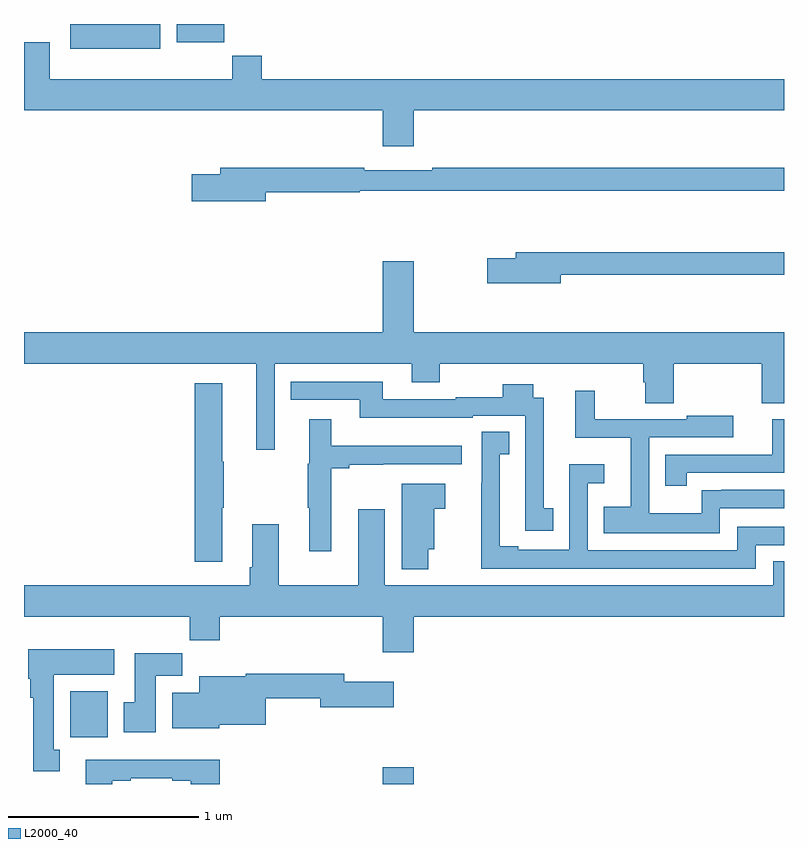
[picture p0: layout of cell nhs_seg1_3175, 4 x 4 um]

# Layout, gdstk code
import gdstk
lib = gdstk.Library(unit=1e-6, precision=1e-09)
def R(c, l, rs):  # rectangles x0, y0, x1, y1
    for r in rs: c.add(gdstk.rectangle(r[:2], r[2:], *l))
def P(c, l, *ps):  # polygons
    for p in ps: c.add(gdstk.Polygon(p, *l))
L2000_40 = (2000, 40)

nhs_seg1_3175 = lib.new_cell('nhs_seg1_3175')
R(nhs_seg1_3175, L2000_40, [(284.888,536.199,285.052,536.287), (283.244,536.444,283.441,536.686), (283.244,540.068,283.717,540.199), (283.805,540.102,284.054,540.199)])
P(nhs_seg1_3175, L2000_40, [(285.052,539.744),(287,539.744),(287,539.908),(284.252,539.908),(284.252,540.032),(284.095,540.032),(284.095,539.908),(283.135,539.908),(283.135,540.103),(283,540.103),(283,539.744),(284.888,539.744),(284.888,539.556),(285.052,539.556)],
  [(284.272,539.314),(284.768,539.314),(284.768,539.322),(287,539.322),(287,539.443),(285.148,539.443),(285.148,539.43),(284.792,539.43),(284.792,539.443),(284.033,539.443),(284.033,539.409),(283.884,539.409),(283.884,539.267),(284.272,539.267)],
  [(285.826,538.878),(287,538.878),(287,538.999),(285.587,538.999),(285.587,538.965),(285.438,538.965),(285.438,538.835),(285.826,538.835)],
  [(283,538.412),(284.222,538.412),(284.222,537.957),(284.319,537.957),(284.319,538.412),(285.041,538.412),(285.041,538.313),(285.189,538.313),(285.189,538.412),(286.259,538.412),(286.259,538.314),(286.271,538.314),(286.271,538.204),(286.419,538.204),(286.419,538.412),(286.882,538.412),(286.882,538.204),(287,538.204),(287,538.576),(285.052,538.576),(285.052,538.951),(284.888,538.951),(284.888,538.576),(283,538.576)],
  [(285.785,537.651),(285.736,537.651),(285.736,538.233),(285.679,538.233),(285.679,538.303),(285.52,538.303),(285.52,538.234),(285.273,538.234),(285.273,538.224),(284.887,538.224),(284.887,538.317),(284.404,538.317),(284.404,538.221),(284.768,538.221),(284.768,538.127),(285.363,538.127),(285.363,538.137),(285.639,538.137),(285.639,537.854),(285.638,537.854),(285.638,537.531),(285.785,537.531)],
  [(284.044,537.652),(284.052,537.652),(284.052,537.896),(284.044,537.896),(284.044,538.309),(283.898,538.309),(283.898,537.369),(284.044,537.369)],
  [(286.662,537.651),(287,537.651),(287,537.747),(286.669,537.747),(286.669,537.746),(286.566,537.746),(286.566,537.625),(286.29,537.625),(286.29,538.023),(286.732,538.023),(286.732,538.138),(286.487,538.138),(286.487,538.119),(286.004,538.119),(286.004,538.27),(285.902,538.27),(285.902,538.022),(286.193,538.022),(286.193,537.658),(286.051,537.658),(286.051,537.518),(286.662,537.518)],
  [(284.617,537.862),(284.713,537.862),(284.713,537.88),(284.891,537.88),(284.891,537.882),(285.304,537.882),(285.304,537.979),(284.617,537.979),(284.617,538.12),(284.501,538.12),(284.501,537.885),(284.494,537.885),(284.494,537.652),(284.501,537.652),(284.501,537.423),(284.617,537.423)],
  [(286.488,537.837),(287,537.837),(287,538.119),(286.937,538.119),(286.937,537.933),(286.375,537.933),(286.375,537.768),(286.488,537.768)],
  [(285.863,537.333),(286.851,537.333),(286.851,537.456),(287,537.456),(287,537.552),(286.755,537.552),(286.755,537.429),(285.966,537.429),(285.966,537.782),(286.054,537.782),(286.054,537.883),(285.87,537.883),(285.87,537.433),(285.601,537.433),(285.601,537.451),(285.505,537.451),(285.505,537.934),(285.554,537.934),(285.554,538.052),(285.408,538.052),(285.408,537.785),(285.406,537.785),(285.406,537.332),(285.863,537.332)],
  [(285.127,537.434),(285.16,537.434),(285.16,537.649),(285.217,537.649),(285.217,537.778),(284.987,537.778),(284.987,537.329),(285.127,537.329)],
  [(285.052,537.08),(287,537.08),(287,537.371),(286.943,537.371),(286.943,537.244),(284.899,537.244),(284.899,537.646),(284.759,537.646),(284.759,537.244),(284.341,537.244),(284.341,537.565),(284.201,537.565),(284.201,537.34),(284.189,537.34),(284.189,537.244),(283,537.244),(283,537.08),(283.873,537.08),(283.873,536.956),(284.03,536.956),(284.03,537.08),(284.888,537.08),(284.888,536.892),(285.052,536.892)],
  [(283.189,536.378),(283.156,536.378),(283.156,536.774),(283.474,536.774),(283.474,536.908),(283.022,536.908),(283.022,536.754),(283.034,536.754),(283.034,536.654),(283.049,536.654),(283.049,536.265),(283.189,536.265)],
  [(283.693,536.768),(283.832,536.768),(283.832,536.887),(283.583,536.887),(283.583,536.628),(283.526,536.628),(283.526,536.472),(283.693,536.472)],
  [(284.028,536.51),(284.272,536.51),(284.272,536.65),(284.558,536.65),(284.558,536.603),(284.947,536.603),(284.947,536.737),(284.686,536.737),(284.686,536.779),(284.168,536.779),(284.168,536.767),(283.922,536.767),(283.922,536.68),(283.781,536.68),(283.781,536.492),(284.028,536.492)],
  [(283.465,536.217),(283.561,536.217),(283.561,536.229),(283.781,536.229),(283.781,536.217),(283.877,536.217),(283.877,536.199),(284.03,536.199),(284.03,536.326),(283.325,536.326),(283.325,536.199),(283.465,536.199)])

lib.write_gds('nhs_seg1_3175.gds')
